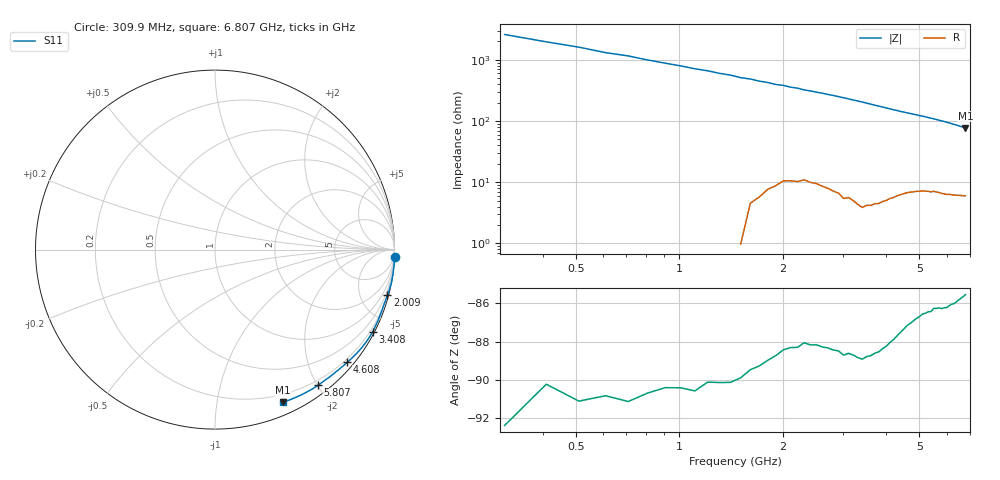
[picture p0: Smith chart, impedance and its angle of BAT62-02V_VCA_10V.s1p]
! Infineon Technologies  Discrete & RF Semiconductors
! BAT62-02V
! VCA = 10 V
! One-Port S-Parameters
# Hz  S  MA  R  50
!f  S11
!Hz  Mag  Ang
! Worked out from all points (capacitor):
!   66 points, 309.9 MHz to 6.807 GHz, reference 50 ohm
!   read as one part to ground: C = 197 fF near 309.9 MHz
!   lowest |Z| = 77.1 ohm at 6.807 GHz (marker M1)
!   S11 on the Smith chart (normalised r, x): 309.9 MHz: -2, -52; 2.009 GHz: 0.21, -7.66; 3.408 GHz: 0.08, -4.09; 4.608 GHz: 0.14, -2.71; 5.807 GHz: 0.13, -2.01; 6.807 GHz: 0.12, -1.54
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3.0985e8  1.002 -2.2
7.0965e8  1.002 -4.9
1.10945e9  1.001 -8.0
1.2094e9  1 -8.6
1.30935e9  1 -9.5
1.4093e9  1 -10.1
1.50925e9  0.9996 -11.2
1.6092e9  0.9981 -11.7
1.70915e9  0.9972 -12.7
1.8091e9  0.9959 -13.4
1.90905e9  0.9945 -14.4
2.009e9  0.993 -14.9
2.10895e9  0.9919 -15.9
2.2089e9  0.9916 -16.5
2.30885e9  0.9898 -17.6
2.4088e9  0.99 -18.3
2.8086e9  0.99 -21.6
3.0085e9  0.991 -23.5
3.4083e9  0.9913 -27.5
3.6082e9  0.9891 -29.7
4.008e9  0.9829 -34.0
4.4078e9  0.9733 -38.4
4.6077e9  0.9683 -40.4
5.2074e9  0.957 -46.2
5.8071e9  0.9494 -52.8
6.007e9  0.9472 -55.2
6.4068e9  0.9399 -60.3
6.8066e9  0.9312 -65.9
